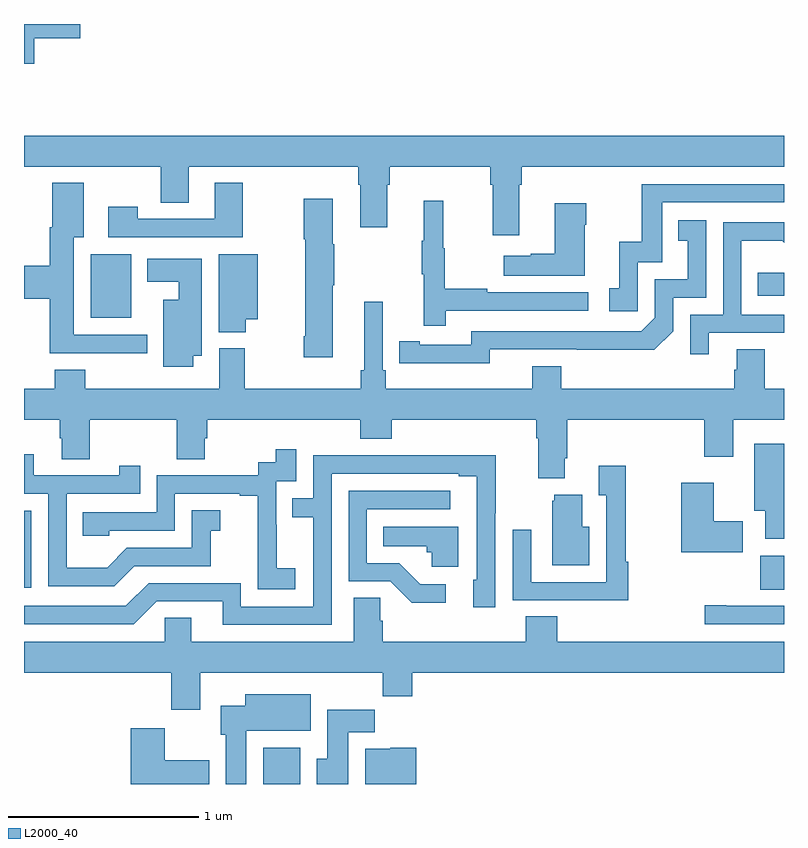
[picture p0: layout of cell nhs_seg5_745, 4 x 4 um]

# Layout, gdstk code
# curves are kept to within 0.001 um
import gdstk
lib = gdstk.Library(unit=1e-6, precision=1e-09)
def R(c, l, rs):  # rectangles x0, y0, x1, y1
    for r in rs: c.add(gdstk.rectangle(r[:2], r[2:], *l))
def P(c, l, *ps):  # polygons
    for p in ps: c.add(gdstk.Polygon(p, *l))
L2000_40 = (2000, 40)

nhs_seg5_745 = lib.new_cell('nhs_seg5_745')
R(nhs_seg5_745, L2000_40, [(158.258,898.799,158.455,898.99), (160.874,899.821,161,900), (157,899.832,157.038,900.237), (157.352,901.253,157.564,901.588), (160.861,901.368,161,901.491)])
P(nhs_seg5_745, L2000_40, [(157.054,902.723),(157.297,902.723),(157.297,902.799),(157,902.799),(157,902.591),(157.054,902.591)],
  [(159.607,901.952),(159.62,901.952),(159.62,902.048),(161,902.048),(161,902.212),(157,902.212),(157,902.048),(157.72,902.048),(157.72,901.858),(157.867,901.858),(157.867,902.048),(158.759,902.048),(158.759,901.952),(158.771,901.952),(158.771,901.728),(158.911,901.728),(158.911,901.952),(158.924,901.952),(158.924,902.048),(159.455,902.048),(159.455,901.952),(159.467,901.952),(159.467,901.686),(159.607,901.686)],
  [(158.151,901.963),(158.003,901.963),(158.003,901.773),(157.599,901.773),(157.599,901.837),(157.443,901.837),(157.443,901.677),(158.151,901.677)],
  [(157.648,901.164),(157.261,901.164),(157.261,901.676),(157.315,901.676),(157.315,901.963),(157.148,901.963),(157.148,901.73),(157.136,901.73),(157.136,901.526),(157,901.526),(157,901.354),(157.136,901.354),(157.136,901.067),(157.648,901.067)],
  [(160.23,901.545),(160.359,901.545),(160.359,901.86),(161,901.86),(161,901.956),(160.251,901.956),(160.251,901.654),(160.133,901.654),(160.133,901.407),(160.08,901.407),(160.08,901.287),(160.23,901.287)],
  [(158.626,901.423),(158.634,901.423),(158.634,901.64),(158.626,901.64),(158.626,901.879),(158.473,901.879),(158.473,901.666),(158.48,901.666),(158.48,901.156),(158.473,901.156),(158.473,901.044),(158.626,901.044)],
  [(159.221,901.29),(159.97,901.29),(159.97,901.386),(159.437,901.386),(159.437,901.406),(159.214,901.406),(159.214,901.62),(159.206,901.62),(159.206,901.87),(159.104,901.87),(159.104,901.657),(159.093,901.657),(159.093,901.483),(159.104,901.483),(159.104,901.212),(159.221,901.212)],
  [(159.952,901.742),(159.96,901.742),(159.96,901.855),(159.794,901.855),(159.794,901.589),(159.668,901.589),(159.668,901.579),(159.525,901.579),(159.525,901.475),(159.952,901.475)],
  [(159.45,901.086),(160.318,901.085),(160.416,901.182),(160.416,901.359),(160.59,901.359),(160.59,901.765),(160.444,901.765),(160.444,901.659),(160.493,901.659),(160.493,901.455),(160.32,901.455),(160.32,901.254),(160.248,901.182),(159.354,901.182),(159.354,901.11),(159.082,901.11),(159.082,901.13),(158.974,901.13),(158.974,901.014),(159.45,901.013)],
  [(160.603,901.173),(161,901.173),(161,901.269),(160.776,901.269),(160.776,901.658),(160.99,901.658),(161,901.648),(161,901.755),(160.68,901.755),(160.68,901.269),(160.506,901.269),(160.506,901.062),(160.603,901.062)],
  [(158.166,901.244),(158.23,901.244),(158.23,901.588),(158.024,901.588),(158.024,901.177),(158.166,901.177)],
  [(157.891,901.052),(157.936,901.052),(157.936,901.564),(157.649,901.564),(157.649,901.442),(157.814,901.442),(157.814,901.348),(157.733,901.348),(157.733,900.996),(157.891,900.996)],
  [(158.792,901.336),(158.792,900.976),(158.773,900.976),(158.773,900.88),(158.163,900.88),(158.163,901.092),(158.027,901.092),(158.027,900.88),(157.323,900.88),(157.323,900.979),(157.163,900.979),(157.163,900.88),(157,900.88),(157,900.716),(157.187,900.716),(157.187,900.618),(157.199,900.618),(157.199,900.508),(157.347,900.508),(157.347,900.716),(157.804,900.716),(157.804,900.508),(157.951,900.508),(157.951,900.618),(157.964,900.618),(157.964,900.716),(158.771,900.716),(158.771,900.617),(158.936,900.617),(158.936,900.716),(159.695,900.716),(159.695,900.62),(159.707,900.62),(159.707,900.407),(159.847,900.407),(159.847,900.514),(159.86,900.514),(159.86,900.716),(160.58,900.716),(160.58,900.522),(160.732,900.522),(160.732,900.716),(161,900.716),(161,900.88),(160.899,900.88),(160.899,901.088),(160.751,901.088),(160.751,900.978),(160.739,900.978),(160.739,900.88),(159.827,900.88),(159.827,900.997),(159.674,900.997),(159.674,900.88),(158.903,900.88),(158.903,900.976),(158.889,900.976),(158.889,901.336)],
  [(161,900.589),(160.844,900.589),(160.844,900.236),(160.901,900.236),(160.901,900.089),(161,900.089)],
  [(158.428,899.935),(158.33,899.935),(158.33,900.164),(158.328,900.164),(158.328,900.393),(158.433,900.393),(158.433,900.562),(158.325,900.562),(158.325,900.492),(158.232,900.492),(158.232,900.423),(157.698,900.423),(157.698,900.228),(157.309,900.228),(157.309,900.105),(157.449,900.105),(157.449,900.132),(157.794,900.132),(157.794,900.327),(158.135,900.327),(158.135,900.315),(158.231,900.315),(158.231,900.031),(158.23,900.031),(158.23,899.825),(158.428,899.825)],
  [(157.579,899.946),(157.983,899.946),(157.983,900.131),(158.032,900.131),(158.032,900.241),(157.884,900.241),(157.884,900.042),(157.542,900.042),(157.438,899.938),(157.224,899.938),(157.224,900.327),(157.613,900.327),(157.613,900.475),(157.502,900.475),(157.502,900.423),(157.051,900.423),(157.051,900.535),(157,900.535),(157,900.327),(157.128,900.327),(157.128,899.841),(157.474,899.841)],
  [(158.619,900.432),(159.287,900.432),(159.287,900.42),(159.384,900.42),(159.384,899.874),(159.365,899.874),(159.365,899.73),(159.48,899.73),(159.48,900.223),(159.483,900.223),(159.483,900.53),(159.019,900.53),(159.019,900.528),(158.523,900.528),(158.523,900.303),(158.413,900.303),(158.413,900.202),(158.523,900.202),(158.523,899.733),(158.142,899.733),(158.142,899.856),(157.656,899.856),(157.536,899.736),(157,899.736),(157,899.64),(157.578,899.64),(157.698,899.76),(158.045,899.76),(158.045,899.637),(158.619,899.637)],
  [(160.181,899.969),(160.166,899.969),(160.166,900.475),(160.025,900.475),(160.025,900.319),(160.065,900.319),(160.065,899.862),(159.669,899.862),(159.669,900.136),(159.573,900.136),(159.573,899.766),(159.889,899.766),(159.889,899.765),(160.181,899.765)],
  [(160.783,900.183),(160.63,900.183),(160.63,900.385),(160.46,900.385),(160.46,900.02),(160.783,900.02)],
  [(159.22,899.85),(159.085,899.85),(158.974,899.961),(158.805,899.961),(158.805,900.246),(159.244,900.246),(159.244,900.342),(158.709,900.342),(158.709,899.865),(158.928,899.865),(159.041,899.753),(159.22,899.753)],
  [(159.976,900.154),(159.937,900.154),(159.937,900.322),(159.791,900.322),(159.791,900.291),(159.779,900.291),(159.779,899.951),(159.976,899.951)],
  [(159.286,900.154),(158.89,900.154),(158.89,900.05),(159.121,900.05),(159.121,900.018),(159.147,900.018),(159.147,899.942),(159.286,899.942)],
  [(157.927,899.384),(158.887,899.384),(158.887,899.26),(159.044,899.26),(159.044,899.384),(161,899.384),(161,899.548),(159.806,899.548),(159.806,899.681),(159.641,899.681),(159.641,899.548),(158.888,899.548),(158.888,899.657),(158.874,899.657),(158.874,899.78),(158.735,899.78),(158.735,899.548),(157.879,899.548),(157.879,899.675),(157.74,899.675),(157.74,899.548),(157,899.548),(157,899.384),(157.775,899.384),(157.775,899.19),(157.927,899.19)],
  [(161,899.736),(160.696,899.736),(160.696,899.741),(160.584,899.741),(160.584,899.64),(161,899.64)],
  [(158.17,899.078),(158.509,899.078),(158.509,899.272),(158.165,899.272),(158.165,899.212),(158.036,899.212),(158.036,899.058),(158.063,899.058),(158.063,898.799),(158.17,898.799)],
  [(158.707,899.072),(158.846,899.072),(158.846,899.19),(158.597,899.19),(158.597,898.932),(158.54,898.932),(158.54,898.799),(158.707,898.799)],
  [(157.975,898.924),(157.74,898.924),(157.74,899.092),(157.562,899.092),(157.562,898.799),(157.975,898.799)],
  [(159.064,898.99),(158.928,898.99),(158.928,898.984),(158.795,898.984),(158.795,898.799),(159.064,898.799)])

lib.write_gds('nhs_seg5_745.gds')
